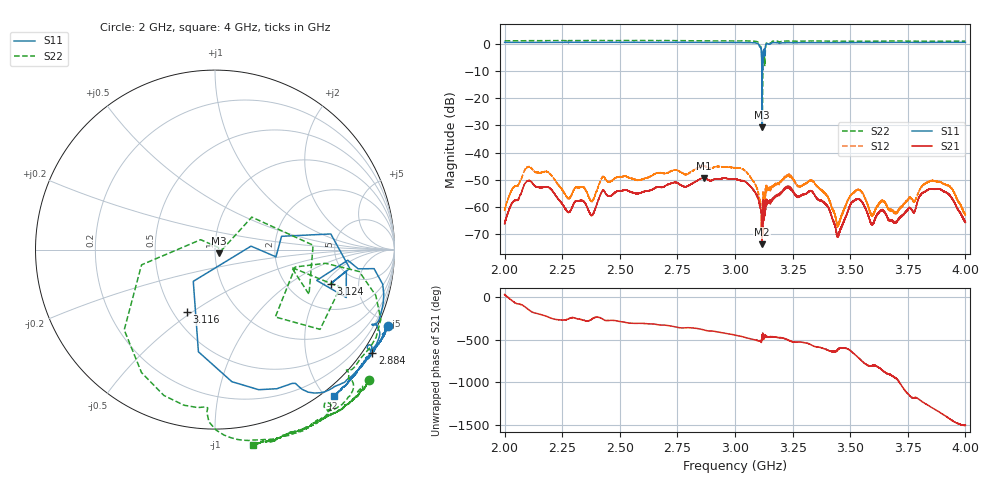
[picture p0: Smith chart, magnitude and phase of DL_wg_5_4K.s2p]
!Agilent Technologies,N5230C,SG49000117,A.08.50.07
!Agilent N5230C: A.08.50.07
!Date: Tuesday, May 07, 2024 00:09:29
!Correction: S11(Full 2 Port(1,2))
!S21(Full 2 Port(1,2))
!S12(Full 2 Port(1,2))
!S22(Full 2 Port(1,2))
!S2P File: Measurements: S11, S21, S12, S22:
# Hz S  MA  R 50
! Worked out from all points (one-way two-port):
!   20001 points, 2 GHz to 4 GHz, reference 50 ohm
!   highest |S21| = -49.26 dB at 2.863 GHz (marker M1); lowest = -73.6 dB at 3.117 GHz (marker M2)
!   lowest |S11| = -30.7 dB at 3.117 GHz (marker M3), VSWR 1.06, Z = 52 - j2.25 ohm
!   |S11| at or under -10 dB: 3.116406 GHz to 3.118818 GHz (2.412 MHz wide, 0.0774 % of centre)
!   |S22| runs from -31.7 to 1.1 dB; largest |S21 - S12| = 0.0031
!   S11 on the Smith chart (normalised r, x): 2 GHz: -0.58, -4.66; 2.884 GHz: -0.28, -3.32; 3.116 GHz: 0.58, -0.48; 3.124 GHz: 3.38, -2.34; 4 GHz: -0.14, -2.09
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2e9  1.051 -23.9  0.0004974 22.5  0.0008846 2.8  1.123 -40.1
2.102e9  1.049 -24.7  0.003059 -148.3  0.005494 -166.5  1.13 -41.3
2.2751e9  1.051 -26.3  0.0008046 97.9  0.001436 77.8  1.081 -42.4
2.3334e9  1.057 -26.8  0.001324 91.6  0.002342 72.1  1.133 -45.0
2.3783e9  1.055 -27.2  0.0006995 96.4  0.001295 76.1  1.14 -45.8
2.6667e9  1.051 -30.0  0.002342 31.8  0.004277 8.2  1.133 -50.7
2.8634e9  1.049 -32.9  0.003443 -28.2  0.005721 -53.8  1.12 -55.6
2.8844e9  1.048 -33.3  0.003146 -39.6  0.005325 -64.1  1.121 -56.3
3e9  1.045 -36.4  0.003285 -88.4  0.005272 -114.5  1.119 -60.8
3.0951e9  1.014 -48.6  0.001553 -149.8  0.002168 -179.0  1.086 -78.1
3.1162e9  0.3819 -114.4  0.0004361 -153.9  0.0003854 -165.7  0.5364 -155.1
3.1171e9  0.07111 -119.8  0.0002094 -109.7  0.0001926 -119.3  0.3123 180.0
3.1173e9  0.02924 -47.6  0.0003659 -82.2  0.0003527 -82.6  0.2594 173.7
3.1245e9  0.6724 -16.4  0.0009496 -138.7  0.001416 -142.4  0.4382 -13.1
3.1409e9  0.9933 -22.4  0.001329 -110.8  0.002329 -126.9  1.014 -37.8
3.1751e9  1.042 -30.4  0.001567 -109.7  0.002574 -134.2  1.113 -51.1
3.3334e9  1.041 -37.6  0.001959 153.6  0.003099 130.1  1.116 -62.2
3.4466e9  1.043 -39.6  0.0003024 102.2  0.0004745 75.6  1.113 -66.1
3.5289e9  1.045 -41.2  0.001403 25.6  0.00206 -0.7  1.101 -68.3
3.6667e9  1.047 -44.6  0.0005762 177.7  0.0009087 148.7  1.109 -72.4
3.8807e9  1.049 -48.5  0.00216 107.0  0.002945 77.2  1.105 -77.2
4e9  1.051 -50.9  0.0005329 -58.3  0.0007409 -88.0  1.112 -79.1
